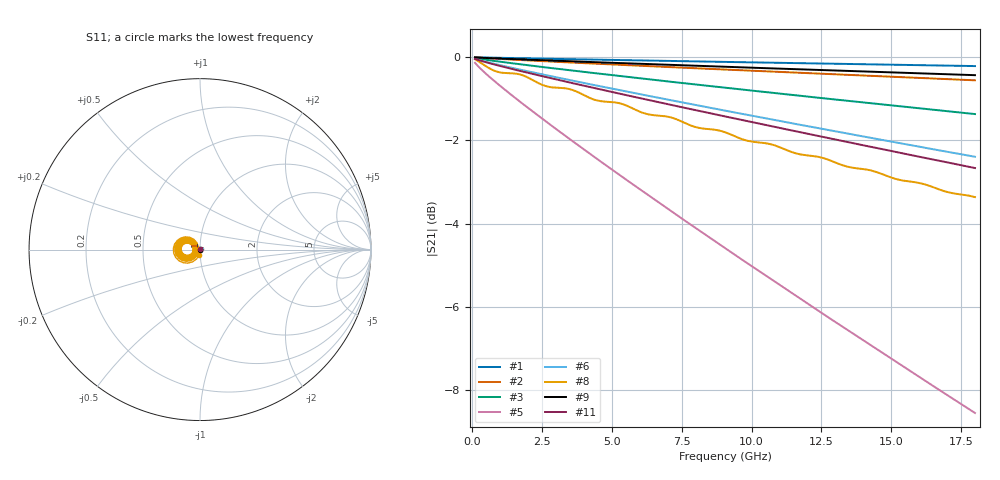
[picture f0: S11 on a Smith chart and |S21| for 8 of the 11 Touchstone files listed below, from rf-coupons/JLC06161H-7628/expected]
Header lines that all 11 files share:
! stackup JLC06161H-7628, nominal parameters; reference planes 10 mm from each end; 50 ohm (renormalized from the line's Zc)
! model: 2D quasi-static RLGC (Djordjevic-Sarkar, Huray roughness, Wheeler loss); generated by python -m yapnr.rf.coupons expected
# GHz S DB R 50
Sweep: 100 MHz to 18 GHz
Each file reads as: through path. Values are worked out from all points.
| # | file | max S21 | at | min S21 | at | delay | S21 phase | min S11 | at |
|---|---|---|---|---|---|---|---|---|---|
| 1 | B02-S-line.s2p | 0.00 dB | 100 MHz | -0.2 dB | 18 GHz | 17.4 ps | -57 deg at 9.1 GHz | -72.8 dB | 100 MHz |
| 2 | B03-S-line.s2p | -0.01 dB | 100 MHz | -0.6 dB | 18 GHz | 45.2 ps | -149 deg at 9.1 GHz | -64.5 dB | 100 MHz |
| 3 | B04-S-line.s2p | -0.02 dB | 100 MHz | -1.4 dB | 18 GHz | 111 ps | -7 deg at 9.1 GHz | -62.4 dB | 4.4 GHz |
| 4 | B05-S-line.s2p | -0.05 dB | 100 MHz | -3.4 dB | 18 GHz | 278 ps | 163 deg at 9.1 GHz | -61.3 dB | 1.8 GHz |
| 5 | B06-S-line.s2p | -0.14 dB | 100 MHz | -8.6 dB | 18 GHz | 696 ps | -133 deg at 9.1 GHz | -66.1 dB | 700 MHz |
| 6 | B08-S-verify.s2p | -0.04 dB | 100 MHz | -2.4 dB | 18 GHz | 195 ps | 78 deg at 9.1 GHz | -63.2 dB | 2.5 GHz |
| 7 | B09-S0.7-variant.s2p | -0.07 dB | 100 MHz | -3.6 dB | 18 GHz | 278 ps | 162 deg at 9.1 GHz | -37.4 dB | 1.8 GHz |
| 8 | B10-S1.4-variant.s2p | -0.05 dB | 100 MHz | -3.4 dB | 18 GHz | 278 ps | 163 deg at 9.1 GHz | -38.4 dB | 1.8 GHz |
| 9 | B13-P-line.s2p | -0.01 dB | 100 MHz | -0.4 dB | 18 GHz | 38.4 ps | -126 deg at 9.1 GHz | -67.3 dB | 100 MHz |
| 10 | B14-P-line.s2p | -0.02 dB | 100 MHz | -1.1 dB | 18 GHz | 94.4 ps | 50 deg at 9.1 GHz | -64.7 dB | 5.3 GHz |
| 11 | B15-P-line.s2p | -0.04 dB | 100 MHz | -2.7 dB | 18 GHz | 236 ps | -55 deg at 9.1 GHz | -67.1 dB | 2.1 GHz |
